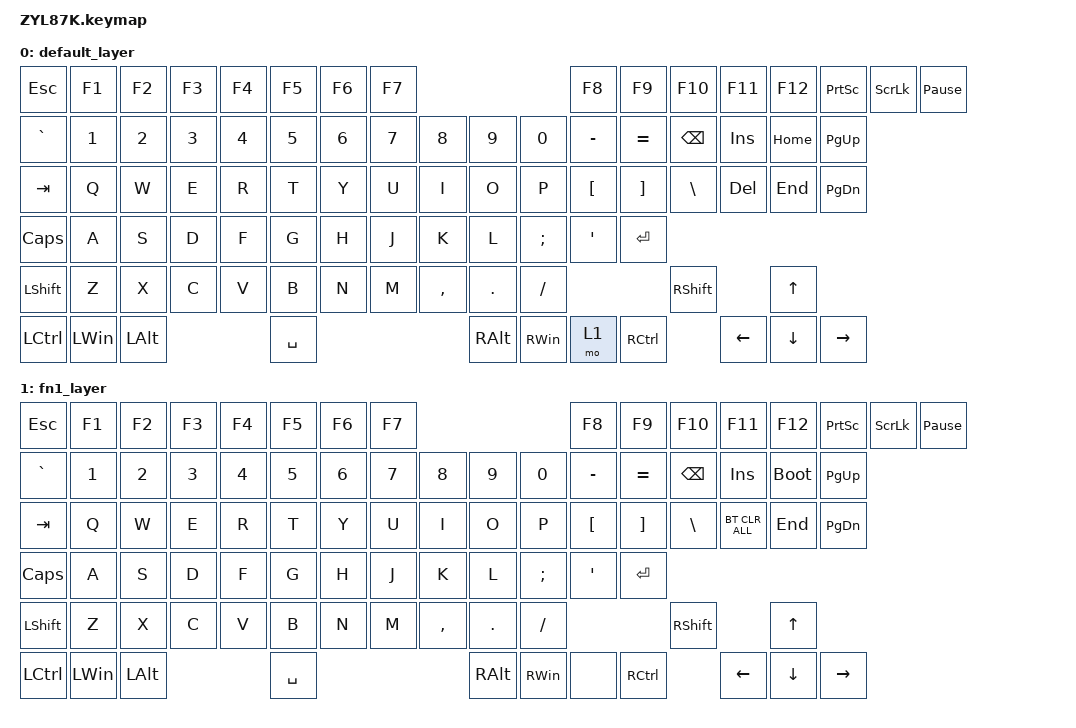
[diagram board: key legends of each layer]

#include <behaviors.dtsi>
#include <dt-bindings/zmk/bt.h>
#include <dt-bindings/zmk/keys.h>

/ {
    keymap0: keymap {
        compatible = "zmk,keymap";

        default_layer {
            bindings = <
&kp ESC               &kp F1    &kp F2    &kp F3     &kp F4          &kp F5     &kp F6     &kp F7    &kp F8    &kp F9    &kp F10    &kp F11    &kp F12   &kp PRINTSCREEN    &kp SCROLLLOCK   &kp PAUSE_BREAK 
&kp GRAVE   &kp N1    &kp N2    &kp N3    &kp N4     &kp N5  &kp N6  &kp N7     &kp N8     &kp N9    &kp N0    &kp MINUS  &kp EQUAL &kp BACKSPACE    &kp INSERT  &kp HOME  &kp PAGE_UP
&kp TAB     &kp Q     &kp W     &kp E     &kp R      &kp T   &kp Y   &kp U      &kp I      &kp O     &kp P     &kp LEFT_BRACKET   &kp RIGHT_BRACKET    &kp BACKSLASH     &kp DELETE    &kp END    &kp PAGE_DOWN
&kp CAPS    &kp A     &kp S     &kp D     &kp F      &kp G   &kp H   &kp J      &kp K      &kp L     &kp SEMI  &kp APOS        &kp ENTER   
&kp LSHFT   &kp Z     &kp X     &kp C     &kp V      &kp B   &kp N   &kp M      &kp COMMA  &kp DOT   &kp SLASH                   &kp RSHIFT                  &kp UP 
&kp LCTRL   &kp LWIN  &kp LALT                     &kp SPACE                               &kp RALT  &kp RWIN     &mo 1    &kp RCTRL          &kp LEFT  &kp DOWN  &kp RIGHT 
            >;
        };
            fn1_layer {
            bindings = <
&kp ESC               &kp F1    &kp F2    &kp F3     &kp F4          &kp F5     &kp F6     &kp F7    &kp F8    &kp F9    &kp F10    &kp F11    &kp F12  &kp PRINTSCREEN    &kp SCROLLLOCK   &kp PAUSE_BREAK 
&kp GRAVE   &kp N1    &kp N2    &kp N3    &kp N4     &kp N5  &kp N6  &kp N7     &kp N8     &kp N9    &kp N0    &kp MINUS  &kp EQUAL &kp BACKSPACE    &kp INSERT  &bootloader  &kp PAGE_UP
&kp TAB     &kp Q     &kp W     &kp E     &kp R      &kp T   &kp Y   &kp U      &kp I      &kp O     &kp P     &kp LEFT_BRACKET   &kp RIGHT_BRACKET    &kp BACKSLASH     &bt BT_CLR_ALL    &kp END    &kp PAGE_DOWN
&kp CAPS    &kp A     &kp S     &kp D     &kp F      &kp G   &kp H   &kp J      &kp K      &kp L     &kp SEMI  &kp APOS        &kp ENTER   
&kp LSHFT   &kp Z     &kp X     &kp C     &kp V      &kp B   &kp N   &kp M      &kp COMMA  &kp DOT   &kp SLASH                   &kp RSHIFT                  &kp UP 
&kp LCTRL   &kp LWIN  &kp LALT                     &kp SPACE                               &kp RALT  &kp RWIN     &none    &kp RCTRL          &kp LEFT  &kp DOWN  &kp RIGHT 
            >;
        };
    };
};
